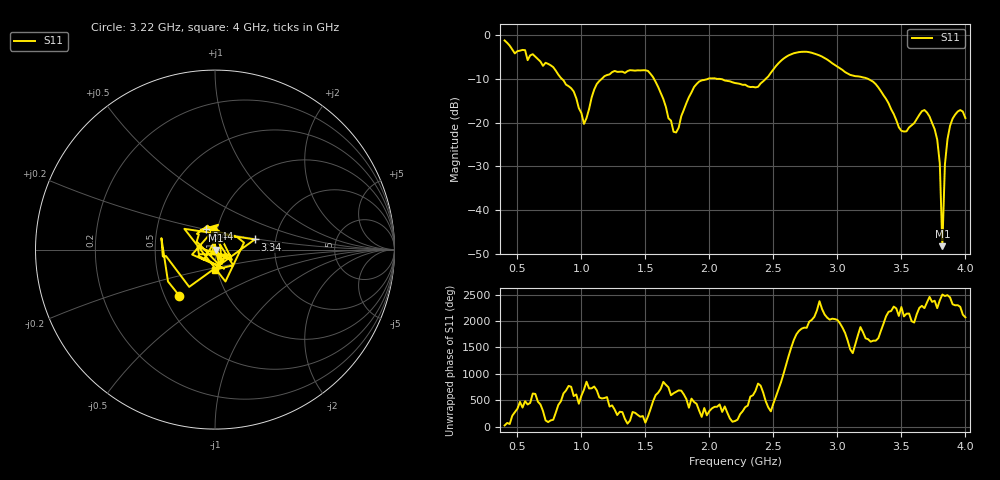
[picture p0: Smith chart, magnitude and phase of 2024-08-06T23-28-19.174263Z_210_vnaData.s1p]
!Created with skrf (http://scikit-rf.org).
# Hz S RI R 50.0
!freq ReS11 ImS11
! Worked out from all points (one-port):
!   181 points, 400 MHz to 4 GHz, reference 50 ohm
!   lowest |S11| = -48.2 dB at 3.82 GHz (marker M1), VSWR 1.01, Z = 50.4 - j0.132 ohm
!   |S11| at or under -10 dB: 1.567 GHz to 1.987 GHz (420 MHz wide, 23.6 % of centre); 2.083 GHz to 2.44 GHz (357.4 MHz wide, 15.8 % of centre); 3.24 GHz to end of sweep (the widest 3 of 4)
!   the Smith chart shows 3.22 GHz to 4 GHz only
!   S11 on the Smith chart (normalised r, x): 3.22 GHz: 0.59, -0.34; 3.34 GHz: 1.56, +0.19; 3.44 GHz: 0.89, +0.21; 4 GHz: 0.97, -0.22
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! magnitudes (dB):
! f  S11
! 400 MHz  -1.2
! 860 MHz  -10.3
! 940 MHz  -12.9
! 1.02 GHz  -20.3
! 1.12 GHz  -11.2
! 1.3 GHz  -8.4
! 1.52 GHz  -8.2
! 1.64 GHz  -14.6
! 1.72 GHz  -22.1
! 1.76 GHz  -21.2
! 1.92 GHz  -10.6
! 2.2 GHz  -10.9
! 2.38 GHz  -11.8
! 2.66 GHz  -4.1
! 3.1 GHz  -9.1
! 3.22 GHz  -9.8
! 3.34 GHz  -12.8
! 3.44 GHz  -18.0
! 3.5 GHz  -21.9
! 3.56 GHz  -21.1
! 3.68 GHz  -17.1
! 3.76 GHz  -21.5
! 3.8 GHz  -29.3
! 3.82 GHz  -48.2
! 3.84 GHz  -29.5
! 3.86 GHz  -23.8
! 3.94 GHz  -17.5
! 4 GHz  -18.9
